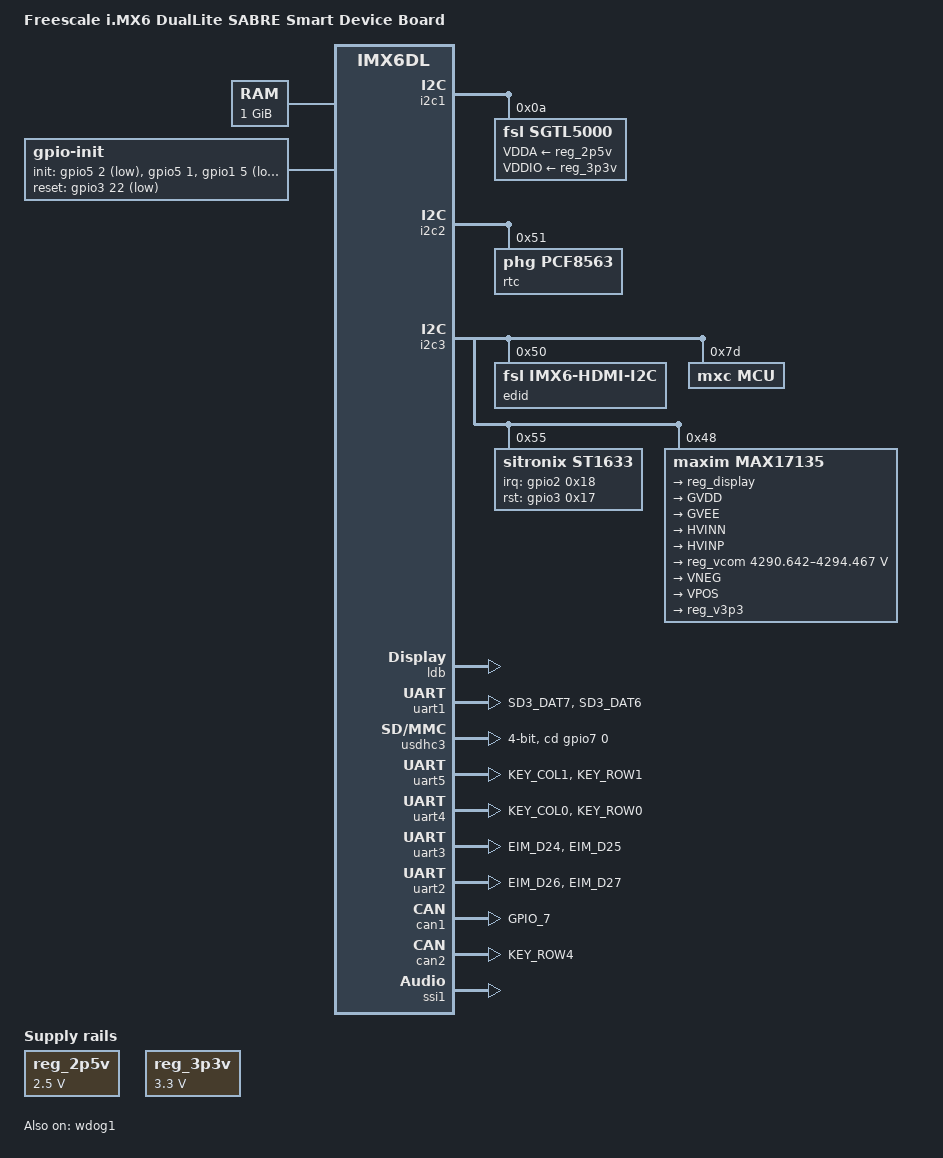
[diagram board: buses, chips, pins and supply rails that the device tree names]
#include "imx6dl-sabresd.dts"

/ {
    model = "Freescale i.MX6 DualLite SABRE Smart Device Board";
    compatible = "fsl,imx6dl-sabresd", "fsl,imx6dl";

	aliases {
		can0 = &can1;
		can1 = &can2;
	};

	memory: memory@10000000 {
		reg = <0x10000000 0x40000000>;
	};

	/delete-node/ leds;
	/delete-node/ max8903@0;

	gpio-init {
		compatible = "gpio-init";
		init-gpios = <
			&gpio5 2 GPIO_ACTIVE_LOW
			&gpio5 1 0x0
			&gpio1 5 GPIO_ACTIVE_LOW
			&gpio5 9 0x0
			&gpio6 31 GPIO_ACTIVE_LOW
			&gpio5 20 0x0
			&gpio2 25 GPIO_ACTIVE_LOW>;
		reset-gpios = <&gpio3 22 GPIO_ACTIVE_LOW>;
		reset-delay-ms = <0x64>;
		#audio_en = <&gpio5 20 0x0>;
		#audio_vcc = <&gpio2 25 0x0>;
		status = "okay";
	};

	reg_2p5v: reg_2P5V {
		compatible = "regulator-fixed";
		regulator-name = "2P5V";
		regulator-min-microvolt = <2500000>;
		regulator-max-microvolt = <2500000>;
		regulator-always-on;
	};

	reg_3p3v: reg_3P3V {
		compatible = "regulator-fixed";
		regulator-name = "3P3V";
		regulator-min-microvolt = <3300000>;
		regulator-max-microvolt = <3300000>;
		regulator-always-on;
	};

	gpio-keys {
		/delete-node/ volume-up;
		/delete-node/ volume-down;
	};

	/delete-node/ sound-hdmi;
	/delete-node/ sound;
	sound {
		compatible = "fsl,imx6q-sabresd-sgtl5000", "fsl,imx-audio-sgtl5000";
		model = "imx6q-sabresd-sgtl5000";
		ssi-controller = <&ssi1>;
		audio-codec = <&sgtl5000>;
		audio-routing =
			"MIC_IN", "Mic Jack",
			"Mic Jack", "Mic Bias",
			"Headphone Jack", "HP_OUT";
		mux-int-port = <1>;
		mux-ext-port = <4>;
	};


	lcd@0 {
		default_ifmt = "RGB24";
	};
};

&hdmi_audio {
	status = "disabled";
};
&hdmi_video {
	status = "disabled";
};
&epdc {
	status = "disabled";
};

&backlight_lvds {
	gpio-upbl = <&gpio1 0x4 0x1>; // JJH TODO: a quoi ca sert ?
	gpio-downbl = <&gpio1 0x8 0x1>; // JJH TODO: a quoi ca sert ?
};

&iomuxc {
	imx6qdl-sabresd {
		/delete-node/ uart5grp-1;
		/delete-node/ uart5dtegrp-1;
		/delete-node/ ipu1grp-2;
	};
};

&reg_usb_otg_vbus {
	/delete-property/ gpio;
};

&mxcfb1 {
	default_bpp = <32>;
};

&cpu0 {
	arm-supply = <&reg_arm>;
	soc-supply = <&reg_soc>;
};

&ecspi1 {
	status = "disable";
};

&i2c1 {
	/delete-node/ wm8962@1a;
	/delete-node/ ov564x@3c;
	/delete-node/ accelerometer@1c;

	sgtl5000: sgtl5000@a {
		compatible = "fsl,sgtl5000";
		reg = <0x0a>;
		clocks = <&clks IMX6QDL_CLK_CKO>;
		VDDA-supply = <&reg_2p5v>;
		VDDIO-supply = <&reg_3p3v>;
	};
};

&i2c2 {
	/delete-node/ ov564x_mipi@3c;
	/delete-node/ max11801@48;
	/delete-node/ touchscreen@4;
	/delete-node/ edid@50;

	rtc@51 {
		compatible = "phg,pcf8563";
		reg = <0x51>;
	};
};

&i2c3 {
	/delete-node/ egalax_ts@4;
	/delete-node/ magnetometer@e;
	/delete-node/ light-sensor@44;
	/delete-node/ elan@10;

	edid@50 {
		compatible = "fsl,imx6-hdmi-i2c";
		reg = <0x50>;
	};

	mcu@7d {
		compatible = "mxc,mcu";
		reg = <0x7D>;
	};

	st1633@55 {
		compatible = "sitronix,st1633";
		reg = <0x55>;
		interrupt-parent = <&gpio2>;
		interrupts = <0x18 0x2>;
		sitronix,irq-gpio = <&gpio2 0x18 0x0>;
		sitronix,rst-gpio = <&gpio3 0x17 0x0>;
		pinctrl-names = "default";
		pinctrl-0 = <&mx6_ft5x0x_pins>;
		status = "okay";
	};
	max17135@48 {
		compatible = "maxim,max17135";
		reg = <0x48>;
		vneg_pwrup = <0x1>;
		gvee_pwrup = <0x1>;
		vpos_pwrup = <0x2>;
		gvdd_pwrup = <0x1>;
		gvdd_pwrdn = <0x1>;
		vpos_pwrdn = <0x2>;
		gvee_pwrdn = <0x1>;
		vneg_pwrdn = <0x1>;
		SENSOR-supply = <0x2D>;
		gpio_pmic_pwrgood = <0x27 0x15 0x0>;
		gpio_pmic_vcom_ctrl = <0x4 0x11 0x0>;
		gpio_pmic_wakeup = <0x4 0x14 0x0>;
		gpio_pmic_v3p3 = <0x27 0x14 0x0>;
		gpio_pmic_intr = <0x27 0x19 0x0>;
		regulators {
			reg_display: DISPLAY {
				regulator-name = "DISPLAY";
			};
			GVDD {
				regulator-name = "GVDD";
			};
			GVEE {
				regulator-name = "GVEE";
			};
			HVINN {
				regulator-name = "HVINN";
			};
			HVINP {
				regulator-name = "HVINP";
			};
			reg_vcom: VCOM {
				regulator-name = "VCOM";
				regulator-min-microvolt = <0xFFBE0178>;
				regulator-max-microvolt = <0xFFF85EE0>;
			};
			VNEG {
				regulator-name = "VNEG";
			};
			VPOS {
				regulator-name = "VPOS";
			};
			reg_v3p3: V3P3 {
				regulator-name = "V3P3";
			};
		};
	};
};

&iomuxc {
	pinctrl-names = "default";
	pinctrl-0 = <&pinctrl_hog>;

	imx6qdl-sabresd {
		pinctrl_hog: hoggrp {
			fsl,pins = <
				MX6QDL_PAD_NANDF_D0__GPIO2_IO00		0x80000000
				MX6QDL_PAD_NANDF_D1__GPIO2_IO01		0x80000000
				MX6QDL_PAD_NANDF_D2__GPIO2_IO02		0x80000000
				MX6QDL_PAD_NANDF_D3__GPIO2_IO03		0x80000000
				MX6QDL_PAD_GPIO_0__CCM_CLKO1		0x130B0
				MX6QDL_PAD_NANDF_CLE__GPIO6_IO07	0x80000000
				MX6QDL_PAD_NANDF_ALE__GPIO6_IO08	0x80000000
				MX6QDL_PAD_ENET_TXD1__GPIO1_IO29	0x80000000
				MX6QDL_PAD_EIM_D21__GPIO3_IO21		0x80000000
				MX6QDL_PAD_EIM_D22__GPIO3_IO22		0x80000000
				MX6QDL_PAD_ENET_CRS_DV__GPIO1_IO25	0x80000000
				MX6QDL_PAD_ENET_RXD0__GPIO1_IO27	0x80000000
				MX6QDL_PAD_EIM_A25__GPIO5_IO02		0x80000000
				MX6QDL_PAD_EIM_D23__GPIO3_IO23		0x80000000
				MX6QDL_PAD_SD3_RST__GPIO7_IO08		0x80000000
				MX6QDL_PAD_EIM_DA9__GPIO3_IO09		0x80000000
				MX6QDL_PAD_NANDF_CS0__GPIO6_IO11	0x80000000
				MX6QDL_PAD_NANDF_CS1__GPIO6_IO14	0x80000000
				MX6QDL_PAD_CSI0_DATA_EN__GPIO5_IO20	0x80000000
				MX6QDL_PAD_EIM_OE__GPIO2_IO25		0x80000000
				MX6QDL_PAD_SD1_DAT0__GPIO1_IO16		0x80000000
				MX6QDL_PAD_SD1_DAT1__GPIO1_IO17		0x80000000
				MX6QDL_PAD_SD1_CLK__GPIO1_IO20		0x80000000
				MX6QDL_PAD_SD1_DAT2__GPIO1_IO19		0x80000000
				MX6QDL_PAD_EIM_CS0__GPIO2_IO23		0x80000000
				MX6QDL_PAD_EIM_EB2__GPIO2_IO30		0x80000000
				MX6QDL_PAD_KEY_COL4__GPIO4_IO14		0x80000000
				MX6QDL_PAD_EIM_D16__GPIO3_IO16		0x80000000
				MX6QDL_PAD_KEY_ROW2__GPIO4_IO11		0x80000000
				MX6QDL_PAD_EIM_D18__GPIO3_IO18		0x80000000
				MX6QDL_PAD_GPIO_9__GPIO1_IO09		0x80000000
				MX6QDL_PAD_EIM_D17__GPIO3_IO17		0x80000000
				MX6QDL_PAD_GPIO_17__GPIO7_IO12		0x80000000
				MX6QDL_PAD_GPIO_4__GPIO1_IO04		0x80000000
				MX6QDL_PAD_KEY_COL2__GPIO4_IO10		0x80000000
				MX6QDL_PAD_GPIO_8__GPIO1_IO08		0x80000000
				MX6QDL_PAD_EIM_BCLK__GPIO6_IO31		0x80000000
			>;
		};

		pinctrl_audmux: audmuxgrp {
			fsl,pins = <
				MX6QDL_PAD_SD2_DAT0__AUD4_RXD 0x130B0
				MX6QDL_PAD_SD2_DAT1__AUD4_TXFS 0x130B0
				MX6QDL_PAD_SD2_DAT2__AUD4_TXD 0x110B0
				MX6QDL_PAD_SD2_DAT3__AUD4_TXC 0x130B0
			>;
		};

		pinctrl_ecspi1: ecspi1grp {
			fsl,pins;
		};

		pinctrl_enet: enetgrp {
			fsl,pins = <
				MX6QDL_PAD_ENET_MDIO__ENET_MDIO		0x1b0b0
				MX6QDL_PAD_ENET_MDC__ENET_MDC		0x1b0b0
				MX6QDL_PAD_RGMII_TXC__RGMII_TXC		0x1b030
				MX6QDL_PAD_RGMII_TD0__RGMII_TD0		0x1b030
				MX6QDL_PAD_RGMII_TD1__RGMII_TD1		0x1b030
				MX6QDL_PAD_RGMII_TD2__RGMII_TD2		0x1b030
				MX6QDL_PAD_RGMII_TD3__RGMII_TD3		0x1b030
				MX6QDL_PAD_RGMII_TX_CTL__RGMII_TX_CTL	0x1b030
				MX6QDL_PAD_ENET_REF_CLK__ENET_TX_CLK	0x1A0B1
				MX6QDL_PAD_RGMII_RXC__RGMII_RXC		0x1b030
				MX6QDL_PAD_RGMII_RD0__RGMII_RD0		0x1b030
				MX6QDL_PAD_RGMII_RD1__RGMII_RD1		0x1b030
				MX6QDL_PAD_RGMII_RD2__RGMII_RD2		0x1b030
				MX6QDL_PAD_RGMII_RD3__RGMII_RD3		0x1b030
				MX6QDL_PAD_RGMII_RX_CTL__RGMII_RX_CTL	0x1b030
				MX6QDL_PAD_GPIO_16__ENET_REF_CLK	0x4001b0a8
			>;
		};

		pinctrl_gpio_keys: gpio_keysgrp {
			fsl,pins = <
				MX6QDL_PAD_EIM_D29__GPIO3_IO29 0x1b0b0
				MX6QDL_PAD_GPIO_5__GPIO1_IO05  0x1b0b0
			>;
		};

		pinctrl_hdmi_cec: hdmicecgrp {
			fsl,pins;
		};

		pinctrl_ipu1_2: ipu1grp-2 { /* parallel camera */
			fsl,pins = <
				MX6QDL_PAD_CSI0_DAT12__IPU1_CSI0_DATA12    0x80000000
				MX6QDL_PAD_CSI0_DAT13__IPU1_CSI0_DATA13    0x80000000
				MX6QDL_PAD_CSI0_DAT14__IPU1_CSI0_DATA14    0x80000000
				MX6QDL_PAD_CSI0_DAT15__IPU1_CSI0_DATA15    0x80000000
				MX6QDL_PAD_CSI0_DAT16__IPU1_CSI0_DATA16    0x80000000
				MX6QDL_PAD_CSI0_DAT17__IPU1_CSI0_DATA17    0x80000000
				MX6QDL_PAD_CSI0_DAT18__IPU1_CSI0_DATA18    0x80000000
				MX6QDL_PAD_CSI0_DAT19__IPU1_CSI0_DATA19    0x80000000
				MX6QDL_PAD_CSI0_PIXCLK__IPU1_CSI0_PIXCLK   0x80000000
				MX6QDL_PAD_CSI0_MCLK__IPU1_CSI0_HSYNC      0x80000000
				MX6QDL_PAD_CSI0_VSYNC__IPU1_CSI0_VSYNC     0x80000000
			>;
		};

		pinctrl_uart1: uart1grp {
			fsl,pins = <
				MX6QDL_PAD_SD3_DAT7__UART1_TX_DATA	0x1B0B1
				MX6QDL_PAD_SD3_DAT6__UART1_RX_DATA	0x1B0B1
			>;
		};

		uart2grp: uart2grp {
			fsl,pins = <
				MX6QDL_PAD_EIM_D26__UART2_TX_DATA 0x1B0B1
				MX6QDL_PAD_EIM_D27__UART2_RX_DATA 0x1B0B1
				>;
		};
		uart3grp: uart3grp {
			fsl,pins = <
				MX6QDL_PAD_EIM_D24__UART3_TX_DATA 0x1B081
				MX6QDL_PAD_EIM_D25__UART3_RX_DATA 0x1B081
				>;
		};
		uart4grp: uart4grp {
			fsl,pins = <
				MX6QDL_PAD_KEY_COL0__UART4_TX_DATA 0x1B0B1
				MX6QDL_PAD_KEY_ROW0__UART4_RX_DATA 0x1B0B1
			>;
		};
		uart5grp: uart5grp {
			fsl,pins = <
				MX6QDL_PAD_KEY_COL1__UART5_TX_DATA 0x1B0B1
				MX6QDL_PAD_KEY_ROW1__UART5_RX_DATA 0x1B0B1
			>;
		};

		pinctrl_usdhc3: usdhc3grp {
			fsl,pins = <
				MX6QDL_PAD_SD3_CMD__SD3_CMD		0x17059
				MX6QDL_PAD_SD3_CLK__SD3_CLK		0x10059
				MX6QDL_PAD_SD3_DAT0__SD3_DATA0	0x17059
				MX6QDL_PAD_SD3_DAT1__SD3_DATA1	0x17059
				MX6QDL_PAD_SD3_DAT2__SD3_DATA2	0x17059
				MX6QDL_PAD_SD3_DAT3__SD3_DATA3	0x17059
				MX6QDL_PAD_SD3_DAT5__GPIO7_IO00	0x80000000
			>;
		};

		flexcan1grp: flexcan1grp {
			fsl,pins = <MX6QDL_PAD_GPIO_7__FLEXCAN1_TX 0x80000000>;
		};
		flexcan2grp: flexcan2grp {
			fsl,pins = <MX6QDL_PAD_KEY_ROW4__FLEXCAN2_RX 0x80000000>;
		};
		mx6_ft5x0x_pins: mx6_ft5x0x_pins {
			fsl,pins = <MX6QDL_PAD_EIM_CS1__GPIO2_IO24 0x80000000>;
		};
	};
};

&wdog1 {
    status = "okay";
};

&wdog2 {
    status = "disabled";
};

&gpc {
	fsl,ldo-bypass = <0>;
};

&ipu1_csi1_from_ipu1_csi1_mux {
	clock-lanes = <0>;
	data-lanes = <1 2>;
};

&ldb {
	dual-mode;

	status = "okay";

	lvds-channel@0 {
		fsl,data-mapping = "spwg";
		fsl,data-width = <18>;
		crtc = "ipu1-di0";
		primary;
		status = "okay";

		display-timings {
			native-mode = <&timing0>;
			timing0: hsd100pxn1 {
				clock-frequency = <0x1fc1e20>;
				hactive = <0x320>;
				vactive = <0x1e0>;
				hback-porch = <0x2e>;
				hfront-porch = <0xd2>;
				vback-porch = <0x17>;
				vfront-porch = <0x16>;
				hsync-len = <0x01>;
				vsync-len = <0x01>;
			};
		};
	};
	lvds-channel@1 {
		reg = <0x01>;
		status = "disabled";
		crtc = "ipu1-di1";
	};
};

&mipi_dsi {
	status = "disabled";
};

&uart1 {
	pinctrl-names = "default";
	pinctrl-0 = <&pinctrl_uart1>;
	status = "okay";
};

&usdhc2 {
	status = "disabled";
};

&usdhc3 {
	bus-width = <0x4>;
	cd-gpios = <&gpio7 0 0>;
	/delete-property/ wp-gpios;
};

&uart5 {
	status = "okay";
	pinctrl-names = "default";
	pinctrl-0 = <&uart5grp>;
};

&uart4{
	status = "okay";
	pinctrl-names = "default";
	pinctrl-0 = <&uart4grp>;
};

&uart3 {
	status = "okay";
	pinctrl-names = "default";
	pinctrl-0 = <&uart3grp>;
};

&uart2 {
	status = "okay";
	pinctrl-names = "default";
	pinctrl-0 = <&uart2grp>;
};

&can1 {
	pinctrl-names = "default";
	pinctrl-0 = <&flexcan1grp>;

	status = "okay";
};

&can2 {
	pinctrl-names = "default";
	pinctrl-0 = <&flexcan2grp>;

	status = "okay";
};

&ssi1 {
	status = "okay";
	fsl,mode = "i2s-slave";
};



&reg_arm {
       /delete-property/ vin-supply;
};

&reg_pu {
       /delete-property/ vin-supply;
};

&reg_soc {
       /delete-property/ vin-supply;
};

&reg_vdd1p1 {
	/delete-property/ vin-supply;
};

&reg_vdd2p5 {
	/delete-property/ vin-supply;
};

&reg_usb_h1_vbus {
	/delete-property/ vin-supply;
};

&reg_usb_otg_vbus {
	/delete-property/ vin-supply;
};
